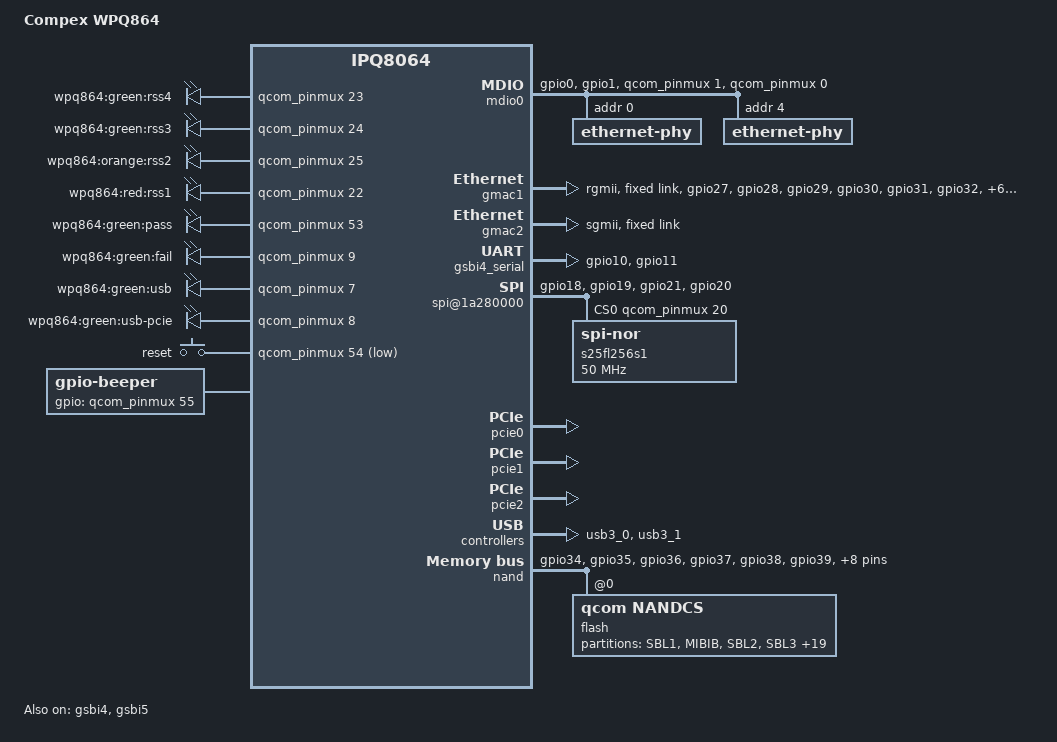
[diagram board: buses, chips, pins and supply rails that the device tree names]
// SPDX-License-Identifier: BSD-3-Clause
/*
 *  BSD LICENSE
 *
 *  Copyright (C) 2017 Christian Mehlis <christian@m3hlis.de>
 *  Copyright (C) 2018 Mathias Kresin <dev@kresin.me>
 *  All rights reserved.
 *
 *  Redistribution and use in source and binary forms, with or without
 *  modification, are permitted provided that the following conditions
 *  are met:
 *
 *    1. Redistributions of source code must retain the above copyright
 *       notice, this list of conditions and the following disclaimer.
 *    2. Redistributions in binary form must reproduce the above copyright
 *       notice, this list of conditions and the following disclaimer in the
 *       documentation and/or other materials provided with the distribution.
 *    3. Neither the names of the copyright holders nor the names of any
 *       contributors may be used to endorse or promote products derived
 *       from this software without specific prior written permission.
 *
 *  THIS SOFTWARE IS PROVIDED BY THE COPYRIGHT HOLDERS AND CONTRIBUTORS
 *  "AS IS" AND ANY EXPRESS OR IMPLIED WARRANTIES, INCLUDING, BUT NOT
 *  LIMITED TO, THE IMPLIED WARRANTIES OF MERCHANTABILITY AND FITNESS FOR
 *  A PARTICULAR PURPOSE ARE DISCLAIMED. IN NO EVENT SHALL THE COPYRIGHT
 *  HOLDER OR CONTRIBUTORS BE LIABLE FOR ANY DIRECT, INDIRECT, INCIDENTAL,
 *  SPECIAL, EXEMPLARY, OR CONSEQUENTIAL DAMAGES (INCLUDING, BUT NOT
 *  LIMITED TO, PROCUREMENT OF SUBSTITUTE GOODS OR SERVICES; LOSS OF USE,
 *  DATA, OR PROFITS; OR BUSINESS INTERRUPTION) HOWEVER CAUSED AND ON ANY
 *  THEORY OF LIABILITY, WHETHER IN CONTRACT, STRICT LIABILITY, OR TORT
 *  (INCLUDING NEGLIGENCE OR OTHERWISE) ARISING IN ANY WAY OUT OF THE USE
 *  OF THIS SOFTWARE, EVEN IF ADVISED OF THE POSSIBILITY OF SUCH DAMAGE.
 */

#include "qcom-ipq8064-v1.0.dtsi"

#include <dt-bindings/input/input.h>
#include <dt-bindings/soc/qcom,tcsr.h>

/ {
	compatible = "compex,wpq864";
	model = "Compex WPQ864";

	aliases {
		mdio-gpio0 = &mdio0;
		serial0 = &gsbi4_serial;
		ethernet0 = &gmac1;
		ethernet1 = &gmac0;

		led-boot = &led_pass;
		led-failsafe = &led_fail;
		led-running = &led_pass;
		led-upgrade = &led_pass;
	};

	chosen {
		stdout-path = "serial0:115200n8";
	};

	soc {
		rpm@108000 {
			pinctrl-0 = <&rpm_pins>;
			pinctrl-names = "default";
		};
	};

	mdio0: mdio {
		#address-cells = <1>;
		#size-cells = <0>;

		compatible = "virtual,mdio-gpio";

		pinctrl-0 = <&mdio0_pins>;
		pinctrl-names = "default";

		gpios = <&qcom_pinmux 1 GPIO_ACTIVE_HIGH>,
			<&qcom_pinmux 0 GPIO_ACTIVE_HIGH>;

		ethernet-phy@0 {
			reg = <0>;
			qca,ar8327-initvals = <
				0x00004 0x7600000   /* PAD0_MODE */
				0x00008 0x1000000   /* PAD5_MODE */
				0x0000c 0x80        /* PAD6_MODE */
				0x000e4 0x6a545     /* MAC_POWER_SEL */
				0x000e0 0xc74164de  /* SGMII_CTRL */
				0x0007c 0x4e        /* PORT0_STATUS */
				0x00094 0x4e        /* PORT6_STATUS */
				>;
		};

		ethernet-phy@4 {
			reg = <4>;
		};
	};

	leds {
		compatible = "gpio-leds";

		pinctrl-0 = <&led_pins>;
		pinctrl-names = "default";

		rss4 {
			label = "wpq864:green:rss4";
			gpios = <&qcom_pinmux 23 GPIO_ACTIVE_HIGH>;
		};

		rss3 {
			label = "wpq864:green:rss3";
			gpios = <&qcom_pinmux 24 GPIO_ACTIVE_HIGH>;
			default-state = "keep";
		};

		rss2 {
			label = "wpq864:orange:rss2";
			gpios = <&qcom_pinmux 25 GPIO_ACTIVE_HIGH>;
		};

		rss1 {
			label = "wpq864:red:rss1";
			gpios = <&qcom_pinmux 22 GPIO_ACTIVE_HIGH>;
		};

		led_pass: pass {
			label = "wpq864:green:pass";
			gpios = <&qcom_pinmux 53 GPIO_ACTIVE_HIGH>;
		};

		led_fail: fail {
			label = "wpq864:green:fail";
			gpios = <&qcom_pinmux 9 GPIO_ACTIVE_HIGH>;
		};

		usb {
			label = "wpq864:green:usb";
			gpios = <&qcom_pinmux 7 GPIO_ACTIVE_HIGH>;
		};

		usb-pcie {
			label = "wpq864:green:usb-pcie";
			gpios = <&qcom_pinmux 8 GPIO_ACTIVE_HIGH>;
		};
	};

	keys {
		compatible = "gpio-keys";

		pinctrl-0 = <&button_pins>;
		pinctrl-names = "default";

		reset {
			label = "reset";
			gpios = <&qcom_pinmux 54 GPIO_ACTIVE_LOW>;
			linux,code = <KEY_RESTART>;
		};
	};

	beeper {
		compatible = "gpio-beeper";

		pinctrl-0 = <&beeper_pins>;
		pinctrl-names = "default";

		gpios = <&qcom_pinmux 55 GPIO_ACTIVE_HIGH>;
	};
};

&adm_dma {
	status = "okay";
};

&gmac1 {
	status = "okay";

	pinctrl-0 = <&rgmii2_pins>;
	pinctrl-names = "default";

	phy-mode = "rgmii";
	qcom,id = <1>;

	fixed-link {
		speed = <1000>;
		full-duplex;
	};
};

&gmac2 {
	status = "okay";

	phy-mode = "sgmii";
	qcom,id = <2>;

	fixed-link {
		speed = <1000>;
		full-duplex;
	};
};

&gsbi4 {
	status = "okay";
	qcom,mode = <GSBI_PROT_I2C_UART>;
};

&gsbi4_serial {
	status = "okay";

	pinctrl-0 = <&uart0_pins>;
	pinctrl-names = "default";
};

&gsbi5 {
	status = "okay";

	qcom,mode = <GSBI_PROT_SPI>;

	spi@1a280000 {
		status = "okay";

		pinctrl-0 = <&spi_pins>;
		pinctrl-names = "default";

		cs-gpios = <&qcom_pinmux 20 GPIO_ACTIVE_HIGH>;

		s25fl256s1@0 {
			compatible = "jedec,spi-nor";
			#address-cells = <1>;
			#size-cells = <1>;
			reg = <0>;
			spi-max-frequency = <50000000>;
		};
	};
};

&pcie0 {
	status = "okay";

	/delete-property/ pinctrl-0;
	/delete-property/ pinctrl-names;
	/delete-property/ perst-gpios;
};

&pcie1 {
	status = "okay";
};

&pcie2 {
	status = "okay";

	/delete-property/ pinctrl-0;
	/delete-property/ pinctrl-names;
	/delete-property/ perst-gpios;
};

&qcom_pinmux {
	pinctrl-names = "default";
	pinctrl-0 = <&state_default>;

	state_default: pinctrl0 {
		pcie0_pcie2_perst {
			pins = "gpio3";
			function = "gpio";
			drive-strength = <2>;
			bias-disable;
			output-high;
		};
	};

	led_pins: led_pins {
		mux {
			pins = "gpio7", "gpio8", "gpio9", "gpio22",
			       "gpio23", "gpio24", "gpio25", "gpio53";
			function = "gpio";
			drive-strength = <2>;
			bias-pull-up;
		};
	};

	button_pins: button_pins {
		mux {
			pins = "gpio54";
			function = "gpio";
			drive-strength = <2>;
			bias-pull-up;
		};
	};

	beeper_pins: beeper_pins {
		mux {
			pins = "gpio55";
			function = "gpio";
			drive-strength = <2>;
			bias-pull-up;
		};
	};

	rpm_pins: rpm_pins {
		mux {
			pins = "gpio12", "gpio13";
			function = "gsbi4";
			drive-strength = <10>;
			bias-disable;
		};
	};

	uart0_pins: uart0_pins {
		mux {
			pins = "gpio10", "gpio11";
			function = "gsbi4";
			drive-strength = <10>;
			bias-disable;
		};
	};

	spi_pins: spi_pins {
		mux {
			pins = "gpio18", "gpio19";
			function = "gsbi5";
			drive-strength = <10>;
			bias-pull-down;
		};

		clk {
			pins = "gpio21";
			function = "gsbi5";
			drive-strength = <12>;
			bias-pull-down;
		};

		cs {
			pins = "gpio20";
			function = "gpio";
			drive-strength = <10>;
			bias-pull-up;
		};
	};

	nand_pins: nand_pins {
		mux {
			pins = "gpio34", "gpio35", "gpio36", "gpio37",
			       "gpio38", "gpio39", "gpio40", "gpio41",
			       "gpio42", "gpio43", "gpio44", "gpio45",
			       "gpio46", "gpio47";
			function = "nand";
			drive-strength = <10>;
			bias-disable;
		};

		pullups {
			pins = "gpio39";
			bias-pull-up;
		};

		hold {
			pins = "gpio40", "gpio41", "gpio42", "gpio43",
			       "gpio44", "gpio45", "gpio46", "gpio47";
			bias-bus-hold;
		};
	};

	mdio0_pins: mdio0_pins {
		mux {
			pins = "gpio0", "gpio1";
			function = "gpio";
			drive-strength = <8>;
			bias-disable;
		};
	};

	rgmii2_pins: rgmii2_pins {
		mux {
			pins = "gpio27", "gpio28", "gpio29", "gpio30",
			       "gpio31", "gpio32", "gpio51", "gpio52",
			       "gpio59", "gpio60", "gpio61", "gpio62";
			function = "rgmii2";
			drive-strength = <8>;
			bias-disable;
		};
	};
};

&usb3_0 {
	status = "okay";
};


&usb3_1 {
	status = "okay";
};

&tcsr {
	qcom,usb-ctrl-select = <TCSR_USB_SELECT_USB3_DUAL>;
};

&nand {
	status = "okay";

	pinctrl-0 = <&nand_pins>;
	pinctrl-names = "default";

	flash@0 {
		compatible = "qcom,nandcs";
		reg = <0>;

		nand-ecc-strength = <4>;
		nand-bus-width = <8>;
		nand-ecc-step-size = <512>;

		partitions {
			compatible = "fixed-partitions";
			#address-cells = <1>;
			#size-cells = <1>;

			SBL1@0 {
				label = "SBL1";
				reg = <0x0000000 0x0040000>;
				read-only;
			};

			MIBIB@40000 {
				label = "MIBIB";
				reg = <0x0040000 0x0140000>;
				read-only;
			};

			SBL2@180000 {
				label = "SBL2";
				reg = <0x0180000 0x0140000>;
				read-only;
			};

			SBL3@2c0000 {
				label = "SBL3";
				reg = <0x02c0000 0x0280000>;
				read-only;
			};

			DDRCONFIG@540000 {
				label = "DDRCONFIG";
				reg = <0x0540000 0x0120000>;
				read-only;
			};

			SSD@660000 {
				label = "SSD";
				reg = <0x0660000 0x0120000>;
				read-only;
			};

			TZ@780000 {
				label = "TZ";
				reg = <0x0780000 0x0280000>;
				read-only;
			};

			RPM@a00000 {
				label = "RPM";
				reg = <0x0a00000 0x0280000>;
				read-only;
			};

			APPSBL@c80000 {
				label = "APPSBL";
				reg = <0x0c80000 0x0500000>;
				read-only;
			};

			APPSBLENV@1180000 {
				label = "APPSBLENV";
				reg = <0x1180000 0x0080000>;
			};

			ART@1200000 {
				label = "ART";
				reg = <0x1200000 0x0140000>;
			};

			ubi@1340000 {
				label = "ubi";
				reg = <0x1340000 0x4000000>;
			};

			BOOTCONFIG@1340000 {
				label = "BOOTCONFIG";
				reg = <0x5340000 0x0060000>;
			};

			SBL2-1@53a0000- {
				label = "SBL2_1";
				reg = <0x53a0000 0x0140000>;
				read-only;
			};

			SBL3-1@54e0000 {
				label = "SBL3_1";
				reg = <0x54e0000 0x0280000>;
				read-only;
			};

			DDRCONFIG-1@5760000 {
				label = "DDRCONFIG_1";
				reg = <0x5760000 0x0120000>;
				read-only;
			};

			SSD-1@5880000 {
				label = "SSD_1";
				reg = <0x5880000 0x0120000>;
				read-only;
			};

			TZ-1@59a0000 {
				label = "TZ_1";
				reg = <0x59a0000 0x0280000>;
				read-only;
			};

			RPM-1@5c20000 {
				label = "RPM_1";
				reg = <0x5c20000 0x0280000>;
				read-only;
			};

			BOOTCONFIG1@5ea0000 {
				label = "BOOTCONFIG1";
				reg = <0x5ea0000 0x0060000>;
			};

			APPSBL-1@5f00000 {
				label = "APPSBL_1";
				reg = <0x5f00000 0x0500000>;
				read-only;
			};

			ubi-1@6400000 {
				label = "ubi_1";
				reg = <0x6400000 0x4000000>;
			};

			unused@a400000 {
				label = "unused";
				reg = <0xa400000 0x5c00000>;
			};
		};
	};
};
